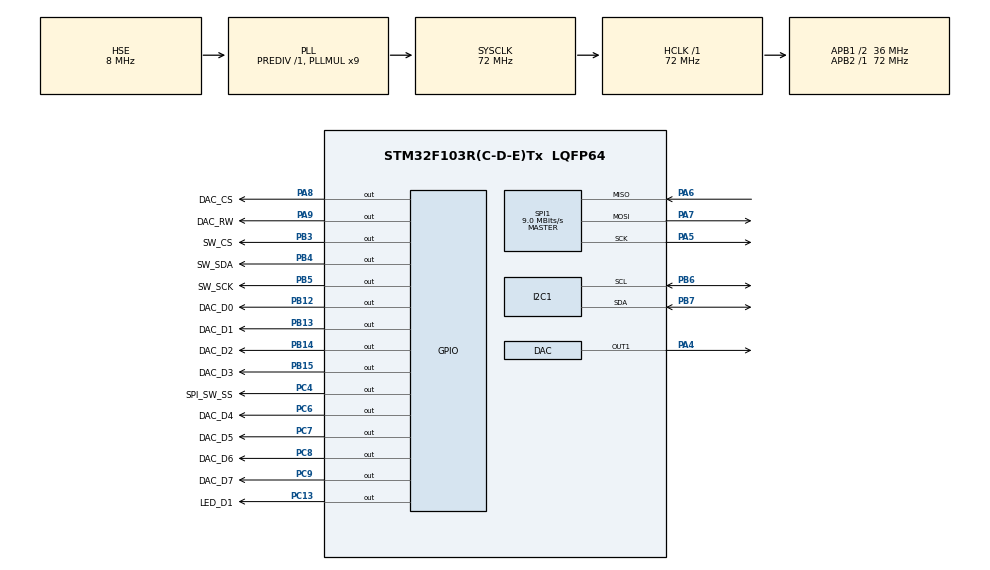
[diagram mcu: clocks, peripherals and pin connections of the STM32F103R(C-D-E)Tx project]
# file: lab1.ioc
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DAC.DAC_Trigger=DAC_TRIGGER_T2_TRGO
DAC.TriangleAmplitude=DAC_TRIANGLEAMPLITUDE_4095
DAC.WaveGeneration=TriangleWaveGeneration
Mcu.Family=STM32F1
Mcu.Name=STM32F103R(C-D-E)Tx
Mcu.Package=LQFP64
NVIC.PriorityGroup=NVIC_PRIORITYGROUP_4
NVIC.TIM2_IRQn=true\:1\:0\:true\:false\:true\:true\:true\:true
NVIC.TIM3_IRQn=true\:0\:0\:false\:false\:true\:true\:true\:true
NVIC.TIM5_IRQn=true\:0\:0\:false\:false\:true\:true\:true\:true
PA13.Mode=Serial_Wire
PA13.Signal=SYS_JTMS-SWDIO
PA14.Mode=Serial_Wire
PA14.Signal=SYS_JTCK-SWCLK
PA4.Signal=COMP_DAC1_group
PA5.Mode=Full_Duplex_Master
PA5.Signal=SPI1_SCK
PA6.Mode=Full_Duplex_Master
PA6.Signal=SPI1_MISO
PA7.Mode=Full_Duplex_Master
PA7.Signal=SPI1_MOSI
PA8.GPIO_Label=DAC_CS
PA8.Signal=GPIO_Output
PA9.GPIO_Label=DAC_RW
PA9.Signal=GPIO_Output
PB12.GPIO_Label=DAC_D0
PB12.Signal=GPIO_Output
PB13.GPIO_Label=DAC_D1
PB13.Signal=GPIO_Output
PB14.GPIO_Label=DAC_D2
PB14.Signal=GPIO_Output
PB15.GPIO_Label=DAC_D3
PB15.Signal=GPIO_Output
PB3.GPIO_Label=SW_CS
PB3.Signal=GPIO_Output
PB4.GPIO_Label=SW_SDA
PB4.Signal=GPIO_Output
PB5.GPIO_Label=SW_SCK
PB5.Signal=GPIO_Output
PB6.Mode=I2C
PB6.Signal=I2C1_SCL
PB7.Mode=I2C
PB7.Signal=I2C1_SDA
PC13-TAMPER-RTC.GPIO_Label=LED_D1
PC13-TAMPER-RTC.Signal=GPIO_Output
PC4.GPIO_Label=SPI_SW_SS
PC4.Signal=GPIO_Output
PC6.GPIO_Label=DAC_D4
PC6.Signal=GPIO_Output
PC7.GPIO_Label=DAC_D5
PC7.Signal=GPIO_Output
PC8.GPIO_Label=DAC_D6
PC8.Signal=GPIO_Output
PC9.GPIO_Label=DAC_D7
PC9.Signal=GPIO_Output
PD0-OSC_IN.Mode=HSE-External-Oscillator
PD0-OSC_IN.Signal=RCC_OSC_IN
PD1-OSC_OUT.Mode=HSE-External-Oscillator
PD1-OSC_OUT.Signal=RCC_OSC_OUT
ProjectManager.HeapSize=0x200
ProjectManager.StackSize=0x400
ProjectManager.TargetToolchain=MDK-ARM V5.32
RCC.AHBFreq_Value=72000000
RCC.APB1CLKDivider=RCC_HCLK_DIV2
RCC.APB1Freq_Value=36000000
RCC.APB1TimFreq_Value=72000000
RCC.APB2Freq_Value=72000000
RCC.APB2TimFreq_Value=72000000
RCC.HCLKFreq_Value=72000000
RCC.PLLMUL=RCC_PLL_MUL9
RCC.PLLSourceVirtual=RCC_PLLSOURCE_HSE
RCC.SYSCLKFreq_VALUE=72000000
RCC.SYSCLKSource=RCC_SYSCLKSOURCE_PLLCLK
RCC.USBFreq_Value=72000000
SH.COMP_DAC1_group.0=DAC_OUT1,DAC_OUT1
SPI1.BaudRatePrescaler=SPI_BAUDRATEPRESCALER_8
SPI1.CLKPhase=SPI_PHASE_2EDGE
SPI1.CalculateBaudRate=9.0 MBits/s
SPI1.Direction=SPI_DIRECTION_2LINES
SPI1.Mode=SPI_MODE_MASTER
SPI1.VirtualType=VM_MASTER
TIM2.Period=24
TIM2.Prescaler=3
TIM2.TIM_MasterOutputTrigger=TIM_TRGO_UPDATE
TIM3.Period=720
TIM3.Prescaler=72
TIM5.AutoReloadPreload=TIM_AUTORELOAD_PRELOAD_ENABLE
TIM5.Period=20
TIM5.Prescaler=72
VP_TIM2_VS_ClockSourceINT.Mode=Internal
VP_TIM3_VS_ClockSourceINT.Mode=Internal
VP_TIM5_VS_ClockSourceINT.Mode=Internal
board=custom

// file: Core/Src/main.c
/* USER CODE BEGIN Header */
/**
  ******************************************************************************
  * @file           : main.c
  * @brief          : Main program body
  ******************************************************************************
  * @attention
  *
  * Copyright (c) 2025 STMicroelectronics.
  * All rights reserved.
  *
  * This software is licensed under terms that can be found in the LICENSE file
  * in the root directory of this software component.
  * If no LICENSE file comes with this software, it is provided AS-IS.
  *
  ******************************************************************************
  */
/* USER CODE END Header */
#include "main.h"
#include "dac.h"
#include "i2c.h"
#include "spi.h"
#include "tim.h"
#include "gpio.h"

/* USER CODE BEGIN Includes */
#include "LED.h"
#include "sw_lcd.h"
#include "spi_lcd.h"
#include "i2c_oled.h"
#include "595driver.h"
#include "key.h"
#include "sw_keyboard.h"
#include "timer.h"
#include "tm1650.h"
#include "dac0832.h"
#include "dac.h"
#include "DAC122S085.h"
/* USER CODE END Includes */

/* USER CODE BEGIN PD */
#define lab4
/* USER CODE END PD */

/* USER CODE BEGIN PV */
int key_current;
int key_history;
int s4_status = 0;
int s5_status = 0;
int clear_bits[5] = {0,0,0,0,0};
int lcd_flag = 0;
unsigned int voltage = 0;
//extern int LED_status;
/* USER CODE END PV */

void SystemClock_Config(void);

int main(void)
{

  /* USER CODE BEGIN 1 */
  LED_status = 1;
  /* USER CODE END 1 */

  /* MCU Configuration--------------------------------------------------------*/

  /* Reset of all peripherals, Initializes the Flash interface and the Systick. */
  HAL_Init();

  /* Configure the system clock */
  SystemClock_Config();

  /* Initialize all configured peripherals */
  MX_GPIO_Init();
  MX_SPI1_Init();
  MX_TIM2_Init();
  MX_TIM5_Init();
  MX_TIM3_Init();
  MX_I2C1_Init();
  MX_DAC_Init();
  /* USER CODE BEGIN 2 */
	HAL_TIM_Base_Start_IT(&htim2);

	HAL_TIM_Base_Start_IT(&htim3);

  HAL_DAC_Start(&hdac, DAC_CHANNEL_1);
	//HAL_TIM_Base_Start_IT(&htim5);

	//��ʼ������,��Ļ��
	//OLED_Init();
	//OLED_CLS();
  DAC0832_Init();
  DAC0832_SineWave_Init();
	//
	//LCE_init();
	HAL_GPIO_WritePin(GPIOC, GPIO_PIN_13, 1);
	//OLED_LAB_DISP_name();   //display name & number
  //TM1650_Init();
  //TM1650_SetBrightness(5);
  /* USER CODE END 2 */

  /* Infinite loop */
  /* USER CODE BEGIN WHILE */
  while (1)
  {

    /*要求一
    #ifdef lab1
      key_current = key_scan();
    if(key_current != 0 && key_current != key_history){
			for(int k = 0;k < 5;k++){
				clear_bits[k] = 0;
			}
      key_history = key_current;
    }
      if(key_history == 0){
				if(!clear_bits[0])
					OLED_CLS();
			  OLED_LAB_DISP_name();
				clear_bits[0] = 1;
      }else if(key_history == 1){
        if(!clear_bits[1])
					OLED_CLS();
        s2_pressed();
				clear_bits[1] = 1;
      }else if(key_history == 2){
        if(!clear_bits[2])
					OLED_CLS();
        s3_pressed();
				clear_bits[2] = 1;
      }else if(key_history == 3){
        if(!clear_bits[3])
					OLED_CLS();
        s4_status = 1;
        s5_status = 0;
        OLED_ShowStr(0,0,"S4 pressed",2);
				clear_bits[3] = 1;
      }else if(key_history == 4){
        if(!clear_bits[4])
					OLED_CLS();
        s5_status = 1;
        s4_status = 0;
				clear_bits[4] = 1;
        OLED_ShowStr(0,0,"S5 pressed",2);
      }
    #endif
		*/

    /* 下面是要求二*/

    /*要求三*/

    /*要求四*/
    #ifdef lab4

      //timer(current_key);
    #endif

    /* USER CODE END WHILE */

  }
}

void SystemClock_Config(void)
{
  RCC_OscInitTypeDef RCC_OscInitStruct = {0};
  RCC_ClkInitTypeDef RCC_ClkInitStruct = {0};

  /** Initializes the RCC Oscillators according to the specified parameters
  * in the RCC_OscInitTypeDef structure.
  */
  RCC_OscInitStruct.OscillatorType = RCC_OSCILLATORTYPE_HSE;
  RCC_OscInitStruct.HSEState = RCC_HSE_ON;
  RCC_OscInitStruct.HSEPredivValue = RCC_HSE_PREDIV_DIV1;
  RCC_OscInitStruct.HSIState = RCC_HSI_ON;
  RCC_OscInitStruct.PLL.PLLState = RCC_PLL_ON;
  RCC_OscInitStruct.PLL.PLLSource = RCC_PLLSOURCE_HSE;
  RCC_OscInitStruct.PLL.PLLMUL = RCC_PLL_MUL9;
  if (HAL_RCC_OscConfig(&RCC_OscInitStruct) != HAL_OK)
  {
    Error_Handler();
  }

  /** Initializes the CPU, AHB and APB buses clocks
  */
  RCC_ClkInitStruct.ClockType = RCC_CLOCKTYPE_HCLK|RCC_CLOCKTYPE_SYSCLK
                              |RCC_CLOCKTYPE_PCLK1|RCC_CLOCKTYPE_PCLK2;
  RCC_ClkInitStruct.SYSCLKSource = RCC_SYSCLKSOURCE_PLLCLK;
  RCC_ClkInitStruct.AHBCLKDivider = RCC_SYSCLK_DIV1;
  RCC_ClkInitStruct.APB1CLKDivider = RCC_HCLK_DIV2;
  RCC_ClkInitStruct.APB2CLKDivider = RCC_HCLK_DIV1;

  if (HAL_RCC_ClockConfig(&RCC_ClkInitStruct, FLASH_LATENCY_2) != HAL_OK)
  {
    Error_Handler();
  }
}

/* USER CODE BEGIN 4 */
void HAL_TIM_PeriodElapsedCallback(TIM_HandleTypeDef *htim){
  voltage = (voltage + 1) % 4096;
	if(htim == &htim2){
    if(s4_status == 1){
		HAL_GPIO_TogglePin(GPIOC, GPIO_PIN_13);
    }

    DAC122S085(0, 0x01, voltage);
	}
	if(htim == &htim3){
    DAC0832_SineWave_Update();
    if(s5_status == 1){
      HAL_GPIO_TogglePin(GPIOC, GPIO_PIN_13);
    }
    if(time > 1000000000){
      time = 0;
    }
    if(pause != 1){
      time += 0.1;
    }
 	}
	if(htim == &htim5){
		time595 += 1;
		time595 = time595 % 8;

	}
}
/* USER CODE END 4 */

void Error_Handler(void)
{
  __disable_irq();
  while (1)
  {
  }
}
